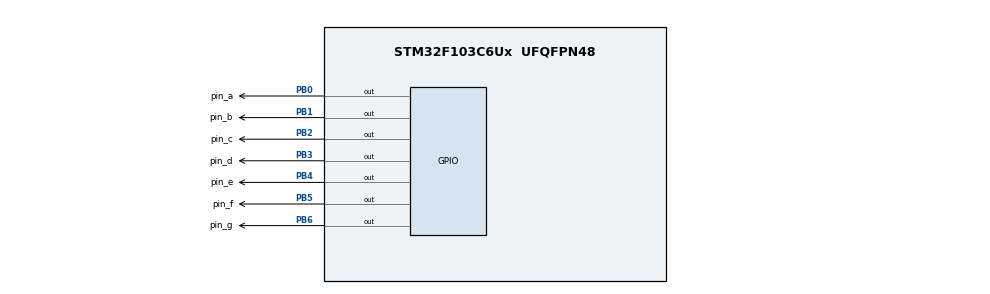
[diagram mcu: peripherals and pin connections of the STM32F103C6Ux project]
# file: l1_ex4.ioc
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Mcu.Family=STM32F1
Mcu.Name=STM32F103C6Ux
Mcu.Package=UFQFPN48
NVIC.PriorityGroup=NVIC_PRIORITYGROUP_4
PB0.GPIO_Label=pin_a
PB0.PinState=GPIO_PIN_SET
PB0.Signal=GPIO_Output
PB1.GPIO_Label=pin_b
PB1.PinState=GPIO_PIN_SET
PB1.Signal=GPIO_Output
PB2.GPIO_Label=pin_c
PB2.PinState=GPIO_PIN_SET
PB2.Signal=GPIO_Output
PB3.GPIO_Label=pin_d
PB3.PinState=GPIO_PIN_SET
PB3.Signal=GPIO_Output
PB4.GPIO_Label=pin_e
PB4.PinState=GPIO_PIN_SET
PB4.Signal=GPIO_Output
PB5.GPIO_Label=pin_f
PB5.PinState=GPIO_PIN_SET
PB5.Signal=GPIO_Output
PB6.GPIO_Label=pin_g
PB6.PinState=GPIO_PIN_SET
PB6.Signal=GPIO_Output
ProjectManager.HeapSize=0x200
ProjectManager.StackSize=0x400
ProjectManager.TargetToolchain=STM32CubeIDE
RCC.APB1Freq_Value=8000000
RCC.APB2Freq_Value=8000000
VP_SYS_VS_ND.Mode=No_Debug
board=custom

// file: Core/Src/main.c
/* USER CODE BEGIN Header */
/**
  ******************************************************************************
  * @file           : main.c
  * @brief          : Main program body
  ******************************************************************************
  * @attention
  *
  * <h2><center>&copy; Copyright (c) 2025 STMicroelectronics.
  * All rights reserved.</center></h2>
  *
  * This software component is licensed by ST under BSD 3-Clause license,
  * the "License"; You may not use this file except in compliance with the
  * License. You may obtain a copy of the License at:
  *                        opensource.org/licenses/BSD-3-Clause
  *
  ******************************************************************************
  */
/* USER CODE END Header */
#include "main.h"

void SystemClock_Config(void);
static void MX_GPIO_Init(void);

int main(void)
{

  /* MCU Configuration--------------------------------------------------------*/

  /* Reset of all peripherals, Initializes the Flash interface and the Systick. */
  HAL_Init();

  /* Configure the system clock */
  SystemClock_Config();

  /* Initialize all configured peripherals */
  MX_GPIO_Init();

  /* Infinite loop */
  /* USER CODE BEGIN WHILE */
  void display7SEG(int counter)
  {
	  switch (counter){
	  case 0:
		  HAL_GPIO_WritePin(pin_a_GPIO_Port, pin_a_Pin, RESET);
		  HAL_GPIO_WritePin(pin_b_GPIO_Port, pin_b_Pin, RESET);
		  HAL_GPIO_WritePin(pin_c_GPIO_Port, pin_c_Pin, RESET);
		  HAL_GPIO_WritePin(pin_d_GPIO_Port, pin_d_Pin, RESET);
		  HAL_GPIO_WritePin(pin_e_GPIO_Port, pin_e_Pin, RESET);
		  HAL_GPIO_WritePin(pin_f_GPIO_Port, pin_f_Pin, RESET);
		  HAL_GPIO_WritePin(pin_g_GPIO_Port, pin_g_Pin, SET);
		  break;
	  case 1:
		  HAL_GPIO_WritePin(pin_a_GPIO_Port, pin_a_Pin, SET);
		  HAL_GPIO_WritePin(pin_b_GPIO_Port, pin_b_Pin, RESET);
		  HAL_GPIO_WritePin(pin_c_GPIO_Port, pin_c_Pin, RESET);
		  HAL_GPIO_WritePin(pin_d_GPIO_Port, pin_d_Pin, SET);
		  HAL_GPIO_WritePin(pin_e_GPIO_Port, pin_e_Pin, SET);
		  HAL_GPIO_WritePin(pin_f_GPIO_Port, pin_f_Pin, SET);
		  HAL_GPIO_WritePin(pin_g_GPIO_Port, pin_g_Pin, SET);
		  break;
	  case 2:
		  HAL_GPIO_WritePin(pin_a_GPIO_Port, pin_a_Pin, RESET);
		  HAL_GPIO_WritePin(pin_b_GPIO_Port, pin_b_Pin, RESET);
		  HAL_GPIO_WritePin(pin_c_GPIO_Port, pin_c_Pin, SET);
		  HAL_GPIO_WritePin(pin_d_GPIO_Port, pin_d_Pin, RESET);
		  HAL_GPIO_WritePin(pin_e_GPIO_Port, pin_e_Pin, RESET);
		  HAL_GPIO_WritePin(pin_f_GPIO_Port, pin_f_Pin, SET);
		  HAL_GPIO_WritePin(pin_g_GPIO_Port, pin_g_Pin, RESET);
		  break;
	  case 3:
		  HAL_GPIO_WritePin(pin_a_GPIO_Port, pin_a_Pin, RESET);
		  HAL_GPIO_WritePin(pin_b_GPIO_Port, pin_b_Pin, RESET);
		  HAL_GPIO_WritePin(pin_c_GPIO_Port, pin_c_Pin, RESET);
		  HAL_GPIO_WritePin(pin_d_GPIO_Port, pin_d_Pin, RESET);
		  HAL_GPIO_WritePin(pin_e_GPIO_Port, pin_e_Pin, SET);
		  HAL_GPIO_WritePin(pin_f_GPIO_Port, pin_f_Pin, SET);
		  HAL_GPIO_WritePin(pin_g_GPIO_Port, pin_g_Pin, RESET);
		  break;
	  case 4:
		  HAL_GPIO_WritePin(pin_a_GPIO_Port, pin_a_Pin, SET);
		  HAL_GPIO_WritePin(pin_b_GPIO_Port, pin_b_Pin, RESET);
		  HAL_GPIO_WritePin(pin_c_GPIO_Port, pin_c_Pin, RESET);
		  HAL_GPIO_WritePin(pin_d_GPIO_Port, pin_d_Pin, SET);
		  HAL_GPIO_WritePin(pin_e_GPIO_Port, pin_e_Pin, SET);
		  HAL_GPIO_WritePin(pin_f_GPIO_Port, pin_f_Pin, RESET);
		  HAL_GPIO_WritePin(pin_g_GPIO_Port, pin_g_Pin, RESET);
		  break;
	  case 5:
		  HAL_GPIO_WritePin(pin_a_GPIO_Port, pin_a_Pin, RESET);
		  HAL_GPIO_WritePin(pin_b_GPIO_Port, pin_b_Pin, SET);
		  HAL_GPIO_WritePin(pin_c_GPIO_Port, pin_c_Pin, RESET);
		  HAL_GPIO_WritePin(pin_d_GPIO_Port, pin_d_Pin, RESET);
		  HAL_GPIO_WritePin(pin_e_GPIO_Port, pin_e_Pin, SET);
		  HAL_GPIO_WritePin(pin_f_GPIO_Port, pin_f_Pin, RESET);
		  HAL_GPIO_WritePin(pin_g_GPIO_Port, pin_g_Pin, RESET);
		  break;
	  case 6:
		  HAL_GPIO_WritePin(pin_a_GPIO_Port, pin_a_Pin, RESET);
		  HAL_GPIO_WritePin(pin_b_GPIO_Port, pin_b_Pin, SET);
		  HAL_GPIO_WritePin(pin_c_GPIO_Port, pin_c_Pin, RESET);
		  HAL_GPIO_WritePin(pin_d_GPIO_Port, pin_d_Pin, RESET);
		  HAL_GPIO_WritePin(pin_e_GPIO_Port, pin_e_Pin, RESET);
		  HAL_GPIO_WritePin(pin_f_GPIO_Port, pin_f_Pin, RESET);
		  HAL_GPIO_WritePin(pin_g_GPIO_Port, pin_g_Pin, RESET);
		  break;
	  case 7:
		  HAL_GPIO_WritePin(pin_a_GPIO_Port, pin_a_Pin, RESET);
		  HAL_GPIO_WritePin(pin_b_GPIO_Port, pin_b_Pin, RESET);
		  HAL_GPIO_WritePin(pin_c_GPIO_Port, pin_c_Pin, RESET);
		  HAL_GPIO_WritePin(pin_d_GPIO_Port, pin_d_Pin, SET);
		  HAL_GPIO_WritePin(pin_e_GPIO_Port, pin_e_Pin, SET);
		  HAL_GPIO_WritePin(pin_f_GPIO_Port, pin_f_Pin, SET);
		  HAL_GPIO_WritePin(pin_g_GPIO_Port, pin_g_Pin, SET);
		  break;
	  case 8:
		  HAL_GPIO_WritePin(pin_a_GPIO_Port, pin_a_Pin, RESET);
		  HAL_GPIO_WritePin(pin_b_GPIO_Port, pin_b_Pin, RESET);
		  HAL_GPIO_WritePin(pin_c_GPIO_Port, pin_c_Pin, RESET);
		  HAL_GPIO_WritePin(pin_d_GPIO_Port, pin_d_Pin, RESET);
		  HAL_GPIO_WritePin(pin_e_GPIO_Port, pin_e_Pin, RESET);
		  HAL_GPIO_WritePin(pin_f_GPIO_Port, pin_f_Pin, RESET);
		  HAL_GPIO_WritePin(pin_g_GPIO_Port, pin_g_Pin, RESET);
		  break;
	  case 9:
		  HAL_GPIO_WritePin(pin_a_GPIO_Port, pin_a_Pin, RESET);
		  HAL_GPIO_WritePin(pin_b_GPIO_Port, pin_b_Pin, RESET);
		  HAL_GPIO_WritePin(pin_c_GPIO_Port, pin_c_Pin, RESET);
		  HAL_GPIO_WritePin(pin_d_GPIO_Port, pin_d_Pin, RESET);
		  HAL_GPIO_WritePin(pin_e_GPIO_Port, pin_e_Pin, SET);
		  HAL_GPIO_WritePin(pin_f_GPIO_Port, pin_f_Pin, RESET);
		  HAL_GPIO_WritePin(pin_g_GPIO_Port, pin_g_Pin, RESET);
		  break;
	  }
  }

  int ctime = 100;
  int counter = 1;
  display7SEG(0);//initial display 0
  while (1)
  {
	  if(ctime<=0)
	  {
		  ctime=100;
		  display7SEG(counter++);
		  counter %= 10;
	  }
	  ctime--;
	  HAL_Delay(10);
    /* USER CODE END WHILE */

  }
}

void SystemClock_Config(void)
{
  RCC_OscInitTypeDef RCC_OscInitStruct = {0};
  RCC_ClkInitTypeDef RCC_ClkInitStruct = {0};

  /** Initializes the RCC Oscillators according to the specified parameters
  * in the RCC_OscInitTypeDef structure.
  */
  RCC_OscInitStruct.OscillatorType = RCC_OSCILLATORTYPE_HSI;
  RCC_OscInitStruct.HSIState = RCC_HSI_ON;
  RCC_OscInitStruct.HSICalibrationValue = RCC_HSICALIBRATION_DEFAULT;
  RCC_OscInitStruct.PLL.PLLState = RCC_PLL_NONE;
  if (HAL_RCC_OscConfig(&RCC_OscInitStruct) != HAL_OK)
  {
    Error_Handler();
  }
  /** Initializes the CPU, AHB and APB buses clocks
  */
  RCC_ClkInitStruct.ClockType = RCC_CLOCKTYPE_HCLK|RCC_CLOCKTYPE_SYSCLK
                              |RCC_CLOCKTYPE_PCLK1|RCC_CLOCKTYPE_PCLK2;
  RCC_ClkInitStruct.SYSCLKSource = RCC_SYSCLKSOURCE_HSI;
  RCC_ClkInitStruct.AHBCLKDivider = RCC_SYSCLK_DIV1;
  RCC_ClkInitStruct.APB1CLKDivider = RCC_HCLK_DIV1;
  RCC_ClkInitStruct.APB2CLKDivider = RCC_HCLK_DIV1;

  if (HAL_RCC_ClockConfig(&RCC_ClkInitStruct, FLASH_LATENCY_0) != HAL_OK)
  {
    Error_Handler();
  }
}

static void MX_GPIO_Init(void)
{
  GPIO_InitTypeDef GPIO_InitStruct = {0};

  /* GPIO Ports Clock Enable */
  __HAL_RCC_GPIOB_CLK_ENABLE();

  /*Configure GPIO pin Output Level */
  HAL_GPIO_WritePin(GPIOB, pin_a_Pin|pin_b_Pin|pin_c_Pin|pin_d_Pin
                          |pin_e_Pin|pin_f_Pin|pin_g_Pin, GPIO_PIN_SET);

  /*Configure GPIO pins : pin_a_Pin pin_b_Pin pin_c_Pin pin_d_Pin
                           pin_e_Pin pin_f_Pin pin_g_Pin */
  GPIO_InitStruct.Pin = pin_a_Pin|pin_b_Pin|pin_c_Pin|pin_d_Pin
                          |pin_e_Pin|pin_f_Pin|pin_g_Pin;
  GPIO_InitStruct.Mode = GPIO_MODE_OUTPUT_PP;
  GPIO_InitStruct.Pull = GPIO_NOPULL;
  GPIO_InitStruct.Speed = GPIO_SPEED_FREQ_LOW;
  HAL_GPIO_Init(GPIOB, &GPIO_InitStruct);

}

void Error_Handler(void)
{
  __disable_irq();
  while (1)
  {
  }
}

/************************ (C) COPYRIGHT STMicroelectronics *****END OF FILE****/
